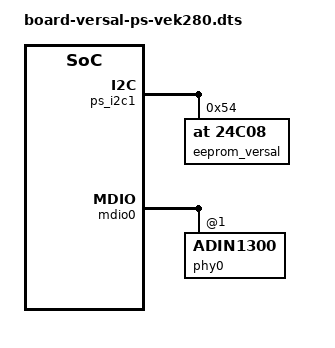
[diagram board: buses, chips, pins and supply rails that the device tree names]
/*
 * Versal VEK280 board device tree
 *
 * Un-supported Features:
 * CPM
 * PCIE
 * QSFP
 * System Controller
 * I2C PM Bus
 *
 * Boot Devices Supported: OSPI & SD
 *
 * Copyright (c) 2021, Xilinx Inc
 * All rights reserved.
 *
 * SPDX-License-Identifier: BSD-3-Clause
 */

#include "board-versal-xcve2802-ps-virt.dts"

/{
	MEM_REGION64_DDR(ddr_3, MM_TOP_DDR_CH1_H, MM_TOP_DDR_CH1_L, MM_TOP_DDR_CH1,
             0x2, 0x0, &ddr_3_mem)
	MEM_REGION64_DDR(ddr_4, MM_TOP_DDR_CH2_H, MM_TOP_DDR_CH2_L, MM_TOP_DDR_CH2,
             0x1, 0x0, &ddr_3_mem)
};

/* QSPI is not preferred boot device */
&pmc_qspi_0 {
	/delete-node/ qspi_flash_lcs_lb@0;
	/delete-node/ qspi_flash_lcs_ub@0;
	/delete-node/ qspi_flash_ucs_lb@0;
	/delete-node/ qspi_flash_ucs_ub@0;
};

/* Attach only one OSPI Flash */
&ospi {
	/delete-node/ ospi_flash_lcs_ub@0;
	/delete-node/ ospi_flash_ucs_lb@0;
	/delete-node/ ospi_flash_ucs_ub@0;
};

&ospi_flash_lcs_lb {
	compatible = "mt35xu02gbba";
};

&ps_i2c1 {
	eeprom_versal: eeprom@51 {
		compatible = "at,24c08";
		reg = <0x54>;
		size = <0x4000>;
		blockdev-node-name = "ps_i2c1.eeprom-54";
	};
};

&mdio0 {

	phy0: phy@1 {
		compatible = "ADIN1300";
	};
};
